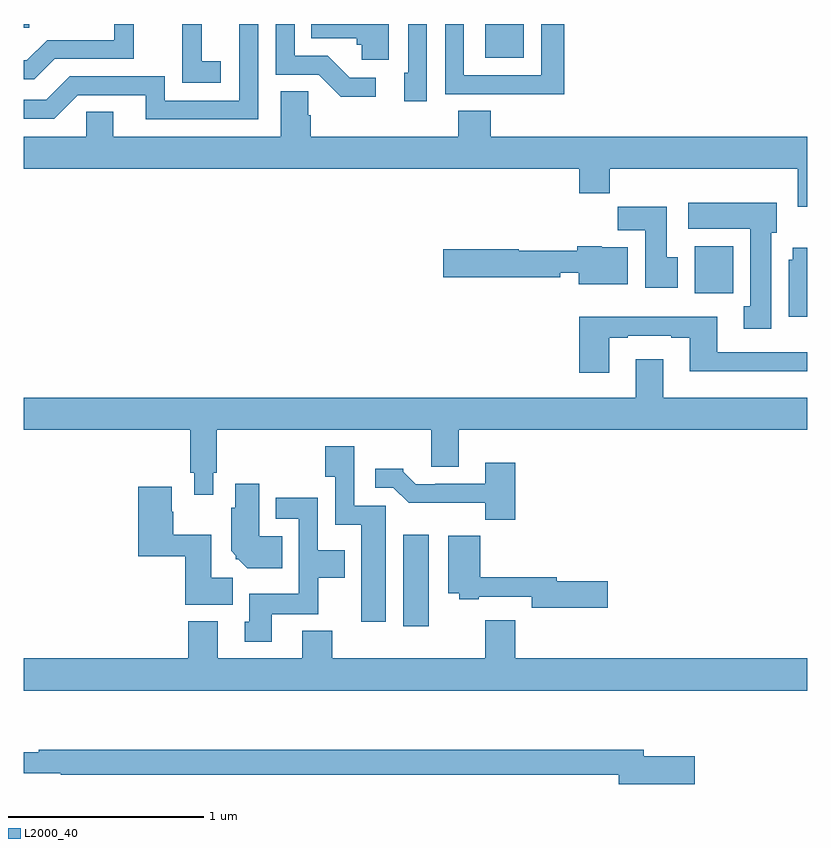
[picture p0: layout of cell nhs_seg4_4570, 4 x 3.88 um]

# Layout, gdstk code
import gdstk
lib = gdstk.Library(unit=1e-6, precision=1e-09)
def R(c, l, rs):  # rectangles x0, y0, x1, y1
    for r in rs: c.add(gdstk.rectangle(r[:2], r[2:], *l))
def P(c, l, *ps):  # polygons
    for p in ps: c.add(gdstk.Polygon(p, *l))
L2000_40 = (2000, 40)

nhs_seg4_4570 = lib.new_cell('nhs_seg4_4570')
R(nhs_seg4_4570, L2000_40, [(358.937,787.824,359.068,788.293), (360.425,789.524,360.622,789.766), (359.357,790.727,359.554,790.9), (357,790.881,357.027,790.9)])
P(nhs_seg4_4570, L2000_40, [(359.759,790.9),(359.643,790.9),(359.643,790.638),(359.247,790.638),(359.247,790.9),(359.151,790.9),(359.151,790.542),(359.467,790.542),(359.467,790.541),(359.759,790.541)],
  [(359.058,790.9),(358.962,790.9),(358.962,790.65),(358.943,790.65),(358.943,790.506),(359.058,790.506)],
  [(358.197,790.9),(358.101,790.9),(358.101,790.509),(357.72,790.509),(357.72,790.632),(357.234,790.632),(357.114,790.512),(357,790.512),(357,790.416),(357.156,790.416),(357.276,790.536),(357.623,790.536),(357.623,790.413),(358.197,790.413)],
  [(357.157,790.722),(357.561,790.722),(357.561,790.9),(357.462,790.9),(357.462,790.818),(357.12,790.818),(357.016,790.714),(357,790.714),(357,790.617),(357.052,790.617)],
  [(358.006,790.711),(357.908,790.711),(357.908,790.9),(357.809,790.9),(357.809,790.807),(357.808,790.807),(357.808,790.601),(358.006,790.601)],
  [(358.798,790.626),(358.663,790.626),(358.552,790.737),(358.383,790.737),(358.383,790.9),(358.287,790.9),(358.287,790.641),(358.506,790.641),(358.619,790.529),(358.798,790.529)],
  [(358.864,790.9),(358.468,790.9),(358.468,790.826),(358.699,790.826),(358.699,790.794),(358.725,790.794),(358.725,790.718),(358.864,790.718)],
  [(361,790.324),(359.384,790.324),(359.384,790.457),(359.219,790.457),(359.219,790.324),(358.466,790.324),(358.466,790.433),(358.452,790.433),(358.452,790.556),(358.313,790.556),(358.313,790.324),(357.457,790.324),(357.457,790.451),(357.318,790.451),(357.318,790.324),(357,790.324),(357,790.16),(359.837,790.16),(359.837,790.036),(359.993,790.036),(359.993,790.16),(360.953,790.16),(360.953,789.966),(361,789.966)],
  [(360.817,789.834),(360.844,789.834),(360.844,789.988),(360.393,789.988),(360.393,789.854),(360.71,789.854),(360.71,789.458),(360.677,789.458),(360.677,789.345),(360.817,789.345)],
  [(360.34,789.708),(360.283,789.708),(360.283,789.967),(360.034,789.967),(360.034,789.848),(360.173,789.848),(360.173,789.552),(360.34,789.552)],
  [(360.085,789.76),(359.952,789.76),(359.952,789.766),(359.827,789.766),(359.827,789.742),(359.526,789.742),(359.526,789.75),(359.142,789.75),(359.142,789.608),(359.738,789.608),(359.738,789.631),(359.834,789.631),(359.834,789.572),(360.085,789.572)],
  [(361,789.757),(360.926,789.757),(360.926,789.696),(360.905,789.696),(360.905,789.404),(361,789.404)],
  [(359.989,789.297),(360.085,789.297),(360.085,789.309),(360.305,789.309),(360.305,789.297),(360.401,789.297),(360.401,789.128),(361,789.128),(361,789.225),(360.541,789.225),(360.541,789.406),(359.837,789.406),(359.837,789.12),(359.989,789.12)],
  [(357.966,788.608),(357.986,788.608),(357.986,788.828),(359.081,788.828),(359.081,788.638),(359.221,788.638),(359.221,788.828),(361,788.828),(361,788.992),(360.265,788.992),(360.265,789.187),(360.125,789.187),(360.125,788.992),(357,788.992),(357,788.828),(357.85,788.828),(357.85,788.608),(357.87,788.608),(357.87,788.496),(357.966,788.496)],
  [(358.849,788.439),(358.686,788.439),(358.686,788.743),(358.538,788.743),(358.538,788.587),(358.59,788.587),(358.59,788.342),(358.724,788.342),(358.724,787.848),(358.849,787.848)],
  [(359.51,788.659),(359.357,788.659),(359.357,788.553),(359.101,788.553),(359.101,788.55),(359.002,788.55),(358.938,788.614),(358.938,788.629),(358.794,788.629),(358.794,788.532),(358.887,788.532),(358.966,788.454),(359.355,788.454),(359.355,788.369),(359.51,788.369)],
  [(358.319,788.284),(358.201,788.284),(358.201,788.551),(358.079,788.551),(358.079,788.43),(358.058,788.43),(358.058,788.209),(358.083,788.184),(358.083,788.166),(358.095,788.166),(358.141,788.12),(358.319,788.12)],
  [(358.066,788.073),(357.958,788.073),(357.958,788.293),(357.762,788.293),(357.762,788.408),(357.754,788.408),(357.754,788.536),(357.584,788.536),(357.584,788.183),(357.824,788.183),(357.824,787.934),(358.066,787.934)],
  [(358.267,787.886),(358.503,787.886),(358.503,788.072),(358.639,788.072),(358.639,788.212),(358.5,788.212),(358.5,788.482),(358.287,788.482),(358.287,788.373),(358.404,788.373),(358.404,787.99),(358.151,787.99),(358.151,787.848),(358.127,787.848),(358.127,787.746),(358.267,787.746)],
  [(359.983,788.054),(359.722,788.054),(359.722,788.075),(359.33,788.075),(359.33,788.287),(359.168,788.287),(359.168,787.994),(359.223,787.994),(359.223,787.962),(359.323,787.962),(359.323,787.974),(359.594,787.974),(359.594,787.919),(359.983,787.919)],
  [(361,787.66),(359.51,787.66),(359.51,787.855),(359.357,787.855),(359.357,787.66),(358.574,787.66),(358.574,787.801),(358.421,787.801),(358.421,787.66),(357.991,787.66),(357.991,787.849),(357.839,787.849),(357.839,787.66),(357,787.66),(357,787.496),(361,787.496)],
  [(360.427,787.161),(360.166,787.161),(360.166,787.195),(357.076,787.195),(357.076,787.182),(357,787.182),(357,787.074),(357.188,787.074),(357.188,787.066),(360.038,787.066),(360.038,787.019),(360.427,787.019)])

lib.write_gds('nhs_seg4_4570.gds')
